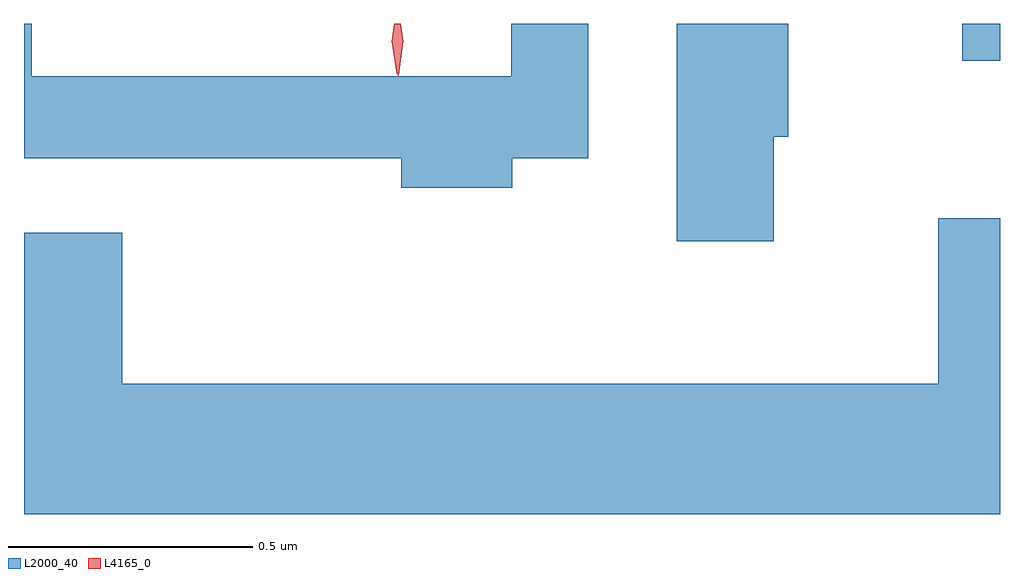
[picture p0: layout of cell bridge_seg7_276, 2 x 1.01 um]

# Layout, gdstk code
import gdstk
lib = gdstk.Library(unit=1e-6, precision=1e-09)
def R(c, l, rs):  # rectangles x0, y0, x1, y1
    for r in rs: c.add(gdstk.rectangle(r[:2], r[2:], *l))
def P(c, l, *ps):  # polygons
    for p in ps: c.add(gdstk.Polygon(p, *l))
L2000_40 = (2000, 40)
L4165_0 = (4165, 0)

bridge_seg7_276 = lib.new_cell('bridge_seg7_276')
R(bridge_seg7_276, L2000_40, [(1379.531,1806.266,1379.608,1806.342)])
P(bridge_seg7_276, L2000_40, [(1379.144,1806.111),(1379.174,1806.111),(1379.174,1806.342),(1378.946,1806.342),(1378.946,1805.896),(1379.144,1805.896)],
  [(1378.609,1806.066),(1378.764,1806.066),(1378.764,1806.342),(1378.606,1806.342),(1378.606,1806.234),(1377.624,1806.234),(1377.624,1806.342),(1377.608,1806.342),(1377.608,1806.066),(1378.381,1806.066),(1378.381,1806.006),(1378.609,1806.006)],
  [(1379.608,1805.944),(1379.481,1805.944),(1379.481,1805.604),(1377.809,1805.604),(1377.809,1805.914),(1377.608,1805.914),(1377.608,1805.337),(1379.608,1805.337)])
P(bridge_seg7_276, L4165_0, [(1378.374,1806.237),(1378.365,1806.306),(1378.37,1806.342),(1378.38,1806.342),(1378.385,1806.306),(1378.376,1806.237)],
  [(1378.372,1806.239),(1378.372,1806.24),(1378.362,1806.306),(1378.367,1806.342),(1378.377,1806.342),(1378.382,1806.306),(1378.373,1806.24)])

lib.write_gds('bridge_seg7_276.gds')
